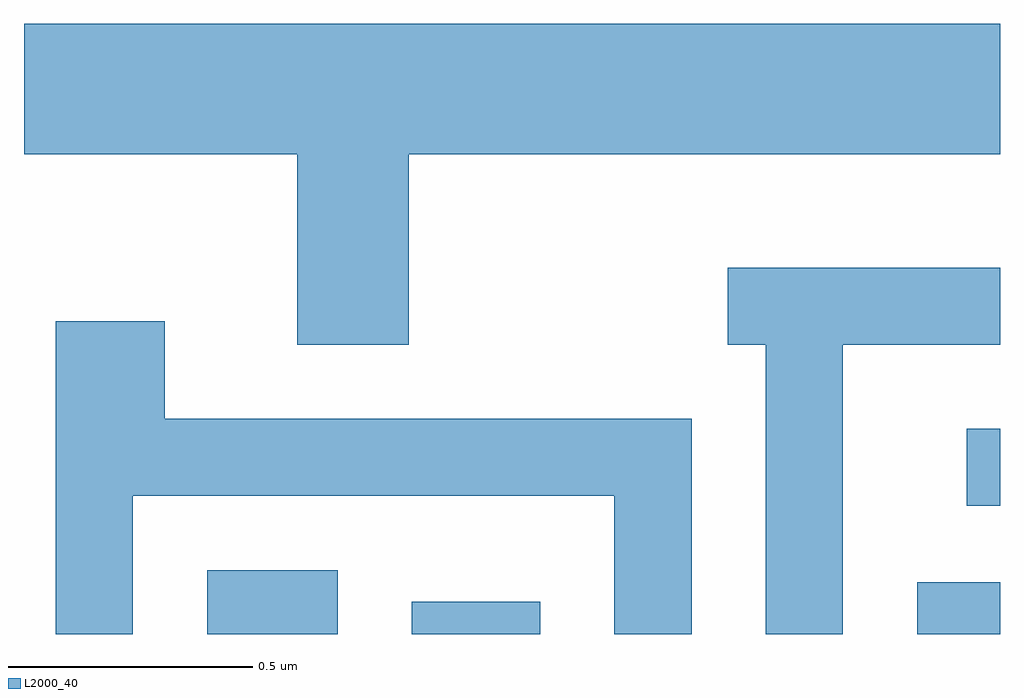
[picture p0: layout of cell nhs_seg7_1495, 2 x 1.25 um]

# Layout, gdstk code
import gdstk
lib = gdstk.Library(unit=1e-6, precision=1e-09)
def R(c, l, rs):  # rectangles x0, y0, x1, y1
    for r in rs: c.add(gdstk.rectangle(r[:2], r[2:], *l))
def P(c, l, *ps):  # polygons
    for p in ps: c.add(gdstk.Polygon(p, *l))
L2000_40 = (2000, 40)

nhs_seg7_1495 = lib.new_cell('nhs_seg7_1495')
R(nhs_seg7_1495, L2000_40, [(195.986,1793.252,196.254,1793.384), (196.406,1793.252,196.669,1793.319), (197.441,1793.252,197.611,1793.359), (197.543,1793.516,197.611,1793.674)])
P(nhs_seg7_1495, L2000_40, [(196.399,1794.236),(197.611,1794.236),(197.611,1794.504),(195.611,1794.504),(195.611,1794.236),(196.171,1794.236),(196.171,1793.846),(196.399,1793.846)],
  [(197.289,1793.846),(197.611,1793.846),(197.611,1794.004),(197.053,1794.004),(197.053,1793.846),(197.131,1793.846),(197.131,1793.252),(197.289,1793.252)],
  [(195.834,1793.536),(196.821,1793.536),(196.821,1793.252),(196.979,1793.252),(196.979,1793.694),(195.899,1793.694),(195.899,1793.894),(195.676,1793.894),(195.676,1793.252),(195.834,1793.252)])

lib.write_gds('nhs_seg7_1495.gds')
